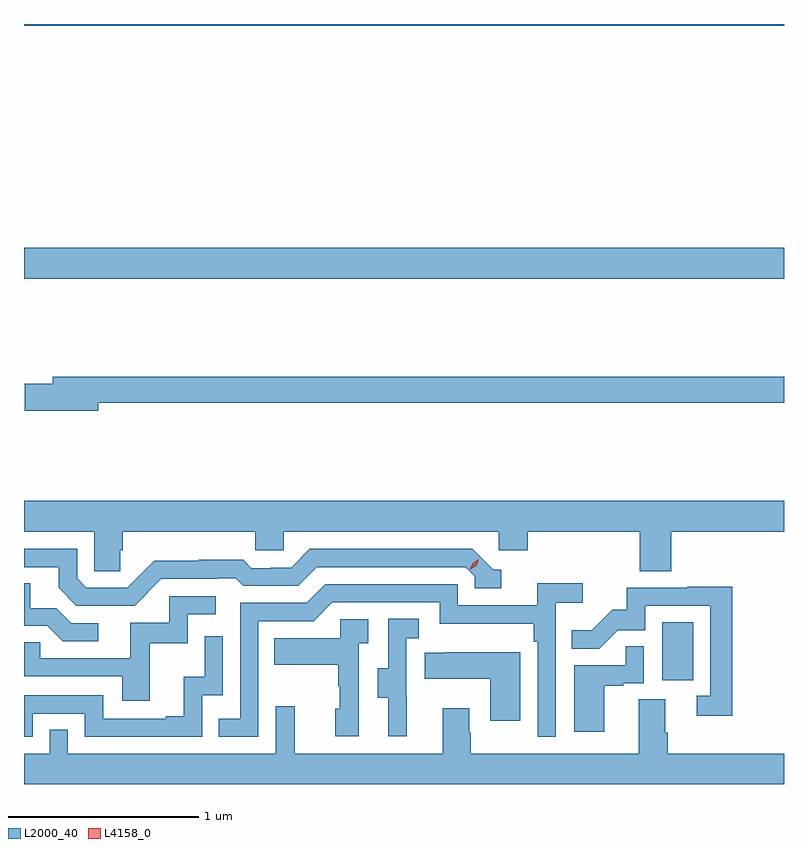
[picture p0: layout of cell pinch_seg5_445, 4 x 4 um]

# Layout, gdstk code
import gdstk
lib = gdstk.Library(unit=1e-6, precision=1e-09)
def R(c, l, rs):  # rectangles x0, y0, x1, y1
    for r in rs: c.add(gdstk.rectangle(r[:2], r[2:], *l))
def P(c, l, *ps):  # polygons
    for p in ps: c.add(gdstk.Polygon(p, *l))
L2000_40 = (2000, 40)
L4158_0 = (4158, 0)

pinch_seg5_445 = lib.new_cell('pinch_seg5_445')
R(pinch_seg5_445, L2000_40, [(918.164,870.63,918.328,870.937), (914.805,872.744,918.805,872.908), (914.805,874.076,918.805,874.085)])
P(pinch_seg5_445, L2000_40, [(915.196,872.092),(918.805,872.092),(918.805,872.228),(914.957,872.228),(914.957,872.192),(914.808,872.192),(914.808,872.05),(915.196,872.05)],
  [(915.311,871.314),(915.326,871.314),(915.326,871.412),(916.023,871.412),(916.023,871.314),(916.173,871.314),(916.173,871.412),(917.304,871.412),(917.304,871.314),(917.456,871.314),(917.456,871.412),(918.047,871.412),(918.047,871.204),(918.212,871.204),(918.212,871.412),(918.805,871.412),(918.805,871.576),(914.805,871.576),(914.805,871.412),(915.174,871.412),(915.174,871.204),(915.311,871.204)],
  [(915.528,871.164),(915.821,871.164),(915.821,871.167),(915.92,871.167),(915.959,871.128),(916.248,871.128),(916.347,871.227),(917.13,871.227),(917.178,871.179),(917.178,871.116),(917.317,871.116),(917.317,871.212),(917.274,871.212),(917.163,871.323),(916.31,871.323),(916.211,871.224),(916.104,871.224),(916.104,871.221),(916.001,871.221),(915.959,871.264),(915.726,871.264),(915.726,871.261),(915.49,871.261),(915.348,871.119),(915.132,871.119),(915.084,871.167),(915.084,871.323),(914.805,871.323),(914.805,871.227),(914.987,871.227),(914.987,871.117),(915.081,871.023),(915.387,871.023)],
  [(916.038,870.942),(916.329,870.942),(916.428,871.041),(916.992,871.041),(916.992,870.929),(917.488,870.929),(917.488,870.833),(917.508,870.833),(917.508,870.333),(917.604,870.333),(917.604,871.04),(917.746,871.04),(917.746,871.142),(917.507,871.142),(917.507,871.026),(917.088,871.026),(917.088,871.137),(916.391,871.137),(916.292,871.038),(915.942,871.038),(915.942,870.429),(915.829,870.429),(915.829,870.333),(916.038,870.333)],
  [(915.196,870.93),(915.054,870.93),(914.974,871.01),(914.839,871.01),(914.839,871.142),(914.805,871.142),(914.805,870.918),(914.927,870.918),(915.008,870.837),(915.196,870.837)],
  [(918.533,871.124),(918.295,871.124),(918.295,871.119),(917.977,871.119),(917.977,871.002),(917.9,871.002),(917.793,870.895),(917.689,870.895),(917.689,870.796),(917.833,870.796),(917.931,870.894),(918.075,870.894),(918.075,871.023),(918.417,871.023),(918.417,870.549),(918.345,870.549),(918.345,870.444),(918.533,870.444)],
  [(915.467,870.825),(915.666,870.825),(915.666,870.978),(915.814,870.978),(915.814,871.074),(915.57,871.074),(915.57,870.933),(915.365,870.933),(915.365,870.747),(914.891,870.747),(914.891,870.831),(914.805,870.831),(914.805,870.651),(915.323,870.651),(915.323,870.522),(915.467,870.522)],
  [(916.82,870.549),(916.818,870.549),(916.818,870.853),(916.882,870.853),(916.882,870.956),(916.722,870.956),(916.722,870.693),(916.667,870.693),(916.667,870.538),(916.721,870.538),(916.721,870.336),(916.82,870.336)],
  [(916.566,870.827),(916.618,870.827),(916.618,870.951),(916.47,870.951),(916.47,870.853),(916.123,870.853),(916.123,870.713),(916.458,870.713),(916.458,870.599),(916.468,870.599),(916.468,870.48),(916.442,870.48),(916.442,870.336),(916.566,870.336)],
  [(914.85,870.456),(915.126,870.456),(915.126,870.333),(915.744,870.333),(915.744,870.552),(915.852,870.552),(915.852,870.862),(915.756,870.862),(915.756,870.65),(915.647,870.65),(915.647,870.442),(915.551,870.442),(915.551,870.429),(915.222,870.429),(915.222,870.552),(914.805,870.552),(914.805,870.333),(914.85,870.333)],
  [(917.86,870.603),(917.96,870.603),(917.96,870.615),(918.066,870.615),(918.066,870.809),(917.971,870.809),(917.971,870.711),(917.702,870.711),(917.702,870.36),(917.86,870.36)],
  [(917.416,870.778),(917.023,870.778),(917.023,870.775),(916.915,870.775),(916.915,870.638),(917.258,870.638),(917.258,870.417),(917.416,870.417)],
  [(918.805,870.244),(918.194,870.244),(918.194,870.356),(918.181,870.356),(918.181,870.53),(918.041,870.53),(918.041,870.244),(917.157,870.244),(917.157,870.356),(917.149,870.356),(917.149,870.484),(917.009,870.484),(917.009,870.244),(916.229,870.244),(916.229,870.493),(916.131,870.493),(916.131,870.244),(915.036,870.244),(915.036,870.371),(914.94,870.371),(914.94,870.244),(914.805,870.244),(914.805,870.085),(918.805,870.085)])
P(pinch_seg5_445, L4158_0, [(917.153,871.214),(917.153,871.214),(917.168,871.247),(917.199,871.267),(917.199,871.267),(917.199,871.267),(917.184,871.234),(917.153,871.214)])

lib.write_gds('pinch_seg5_445.gds')
